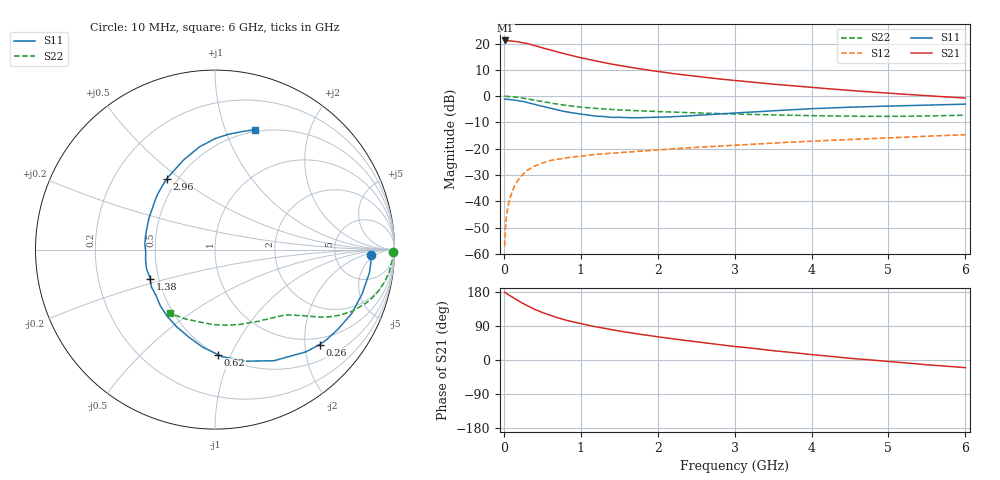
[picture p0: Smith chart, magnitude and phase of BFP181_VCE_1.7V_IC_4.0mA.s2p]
! Infineon Technologies  Discrete & RF Semiconductors
! BFP181
! VCE = 1.7 V,  IC =  4.0 mA
! Common Emitter S-Parameters:  Jan 2016
# GHz  S  MA  R  50
!  f  S11  S21  S12  S22
! GHz  MAG  ANG  MAG  ANG  MAG  ANG  MAG  ANG
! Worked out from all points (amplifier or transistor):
!   210 points, 10 MHz to 6 GHz, reference 50 ohm
!   highest |S21| = 21.2 dB at 20 MHz (marker M1)
!   |S21| within 3 dB of that: start of sweep to 526.6 MHz
!   unconditionally stable (mu >= 1): 1.755 GHz to end of sweep
!   at 185 MHz: K = 0.16, MSG = 26.3 dB, |S12| = -32.0 dB
!   at 1.52 GHz: K = 0.92, MSG = 16.5 dB, |S12| = -21.4 dB
!   at 6 GHz: K = 1.08, MAG = 5.3 dB, |S12| = -14.7 dB
!   S11 on the Smith chart (normalised r, x): 10 MHz: 14, -3; 260 MHz: 0.84, -2.33; 620 MHz: 0.50, -0.90; 1.38 GHz: 0.45, -0.17; 2.96 GHz: 0.44, +0.44; 6 GHz: 0.48, +1.28
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0.01  0.8713 -1.8  11.41 178.8  0.0014 78.2  0.9923 -0.7
0.02  0.8719 -3.4  11.48 177.9  0.0029 85.8  0.995 -1.4
0.06  0.8659 -10.1  11.38 172.3  0.0088 84.5  0.9858 -4.4
0.15  0.841 -25.0  11.06 160.8  0.0211 75.2  0.9622 -10.7
0.2  0.8158 -33.1  10.76 154.8  0.027 72.3  0.9419 -13.9
0.26  0.7874 -42.2  10.28 148.1  0.0338 67.3  0.913 -17.4
0.3  0.7627 -48.3  10.05 144.1  0.0385 64.4  0.8926 -19.5
0.4  0.7013 -62.0  9.232 133.7  0.0466 58.0  0.8391 -24.1
0.5  0.6441 -74.8  8.324 125.3  0.0534 52.7  0.7876 -27.6
0.62  0.5861 -88.2  7.49 116.8  0.0602 48.3  0.7356 -30.6
0.7  0.5483 -97.1  6.915 111.4  0.0631 46.1  0.7048 -32.3
0.8  0.5077 -107.0  6.378 105.5  0.0667 43.7  0.6714 -33.9
1.02  0.4527 -127.2  5.305 95.0  0.0729 39.8  0.6156 -36.7
1.2  0.4165 -142.1  4.652 87.5  0.0777 37.2  0.5856 -38.8
1.38  0.3975 -155.8  4.132 81.0  0.0818 36.3  0.5612 -40.6
1.68  0.3867 -176.7  3.473 70.8  0.0882 34.9  0.5315 -43.6
2.02  0.3969 163.7  2.917 60.8  0.0955 33.5  0.5085 -47.5
2.96  0.4758 124.5  2.019 36.7  0.116 30.2  0.4593 -61.1
3.1  0.488 120.2  1.929 33.7  0.1192 29.6  0.4532 -63.4
4.1  0.5851 96.9  1.432 12.4  0.1414 24.6  0.4242 -82.8
5.1  0.6533 81.8  1.115 -5.6  0.1628 19.5  0.4129 -105.0
6  0.7049 71.4  0.921 -20.3  0.1848 13.9  0.4348 -125.5
